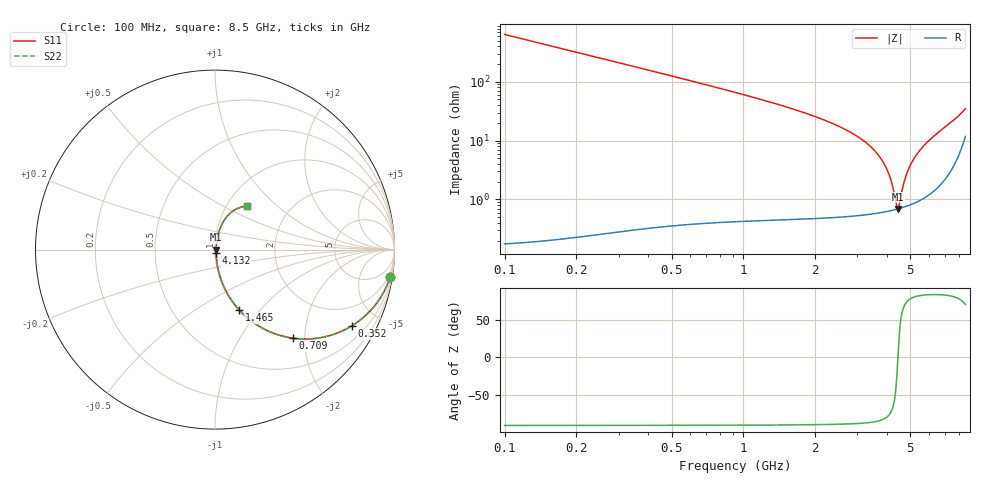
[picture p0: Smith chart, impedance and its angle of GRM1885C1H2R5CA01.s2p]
!Murata Part Number: GRM1885C1H2R5CA01
!These Parameters are Measured in Series Mode Connection
!Data Generated on Mar 30, 2021
!  o--ll--o
!Port1  Port2
!  o------o
!Operation Temp=25[degC], DC Bias Voltage=0[V]
!Freq. Start=100[MHz] Stop=9[GHz] 401[Steps]
# Hz S RI R 50
!Freq.(Hz) S11(Real) S11(Imag) S21(Real) S21(Imag) S12(Real) S12(Imag) S22(Real) S22(Imag)
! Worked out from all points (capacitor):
!   401 points, 100 MHz to 8.5 GHz, reference 50 ohm
!   read as one part in series: C = 2.5 pF near 142 MHz
!   lowest |Z| = 693 mohm at 4.426 GHz (marker M1)
!   series resonance near 4.434 GHz, so ESL is about 520 pH
!   S11 on the Smith chart (normalised r, x): 100 MHz: 1, -13; 352 MHz: 1.01, -3.59; 709 MHz: 1.01, -1.75; 1.465 GHz: 1.01, -0.78; 4.132 GHz: 1.01, -0.04; 8.5 GHz: 1.24, +0.66
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1e8  0.9759 -0.1534  0.0241 0.1534  0.0241 0.1534  0.9759 -0.1534
2.26e8  0.8873 -0.3158  0.1127 0.3158  0.1127 0.3158  0.8873 -0.3158
3.52e8  0.763 -0.4244  0.237 0.4244  0.237 0.4244  0.763 -0.4244
5.2e8  0.5927 -0.4898  0.4073 0.4898  0.4073 0.4898  0.5927 -0.4898
7.09e8  0.4339 -0.4934  0.5661 0.4934  0.5661 0.4934  0.4339 -0.4934
1.045e9  0.2508 -0.4298  0.7492 0.4298  0.7492 0.4298  0.2508 -0.4298
1.465e9  0.1341 -0.335  0.8659 0.335  0.8659 0.335  0.1341 -0.335
1.507e9  0.1264 -0.3263  0.8736 0.3263  0.8736 0.3263  0.1264 -0.3263
2.914e9  0.0208 -0.1235  0.9792 0.1235  0.9792 0.1235  0.0208 -0.1235
3.67e9  0.009 -0.0559  0.991 0.0559  0.991 0.0559  0.009 -0.0559
3.922e9  0.00747 -0.0364  0.9925 0.0364  0.9925 0.0364  0.00747 -0.0364
4.132e9  0.00685 -0.021  0.9931 0.021  0.9931 0.021  0.00685 -0.021
4.3e9  0.00674 -0.00921  0.9933 0.00921  0.9933 0.00921  0.00674 -0.00921
4.384e9  0.0068 -0.00343  0.9932 0.00343  0.9932 0.00343  0.0068 -0.00343
4.426e9  0.00686 -0.000573  0.9931 0.000573  0.9931 0.000573  0.00686 -0.000573
4.489e9  0.00698 0.00368  0.993 -0.00368  0.993 -0.00368  0.00698 0.00368
4.72e9  0.00777 0.0189  0.9922 -0.0189  0.9922 -0.0189  0.00777 0.0189
4.93e9  0.00894 0.0324  0.9911 -0.0324  0.9911 -0.0324  0.00894 0.0324
5.266e9  0.0117 0.0533  0.9883 -0.0533  0.9883 -0.0533  0.0117 0.0533
5.707e9  0.0169 0.08  0.9831 -0.08  0.9831 -0.08  0.0169 0.08
7.114e9  0.0524 0.1653  0.9476 -0.1653  0.9476 -0.1653  0.0524 0.1653
8.5e9  0.1764 0.2416  0.8236 -0.2416  0.8236 -0.2416  0.1764 0.2416
